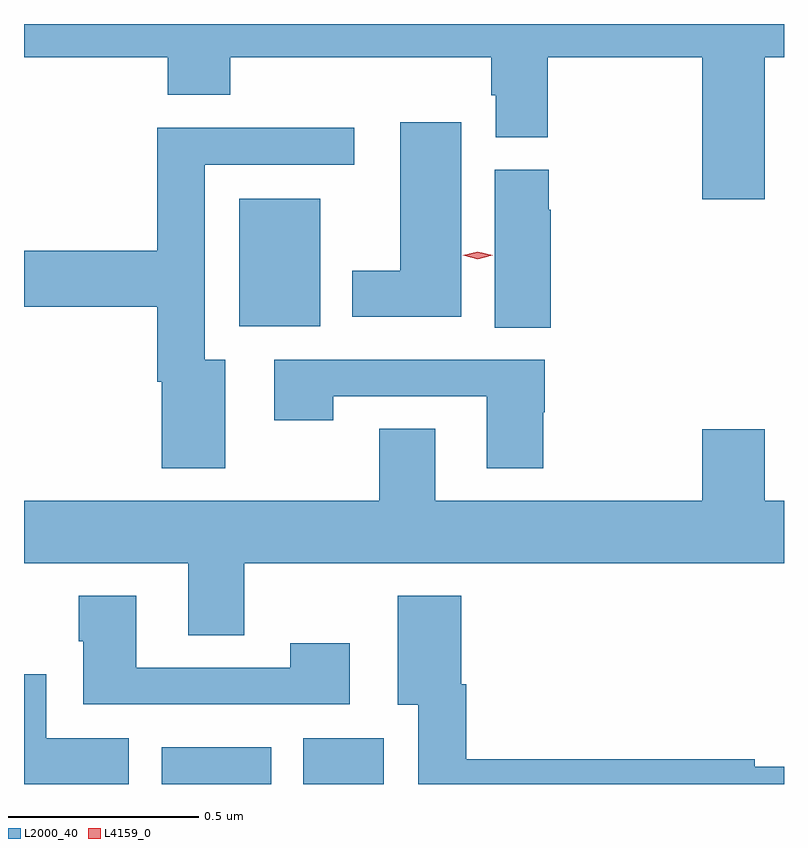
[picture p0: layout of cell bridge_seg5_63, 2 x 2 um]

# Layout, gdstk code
import gdstk
lib = gdstk.Library(unit=1e-6, precision=1e-09)
def R(c, l, rs):  # rectangles x0, y0, x1, y1
    for r in rs: c.add(gdstk.rectangle(r[:2], r[2:], *l))
def P(c, l, *ps):  # polygons
    for p in ps: c.add(gdstk.Polygon(p, *l))
L2000_40 = (2000, 40)
L4159_0 = (4159, 0)

bridge_seg5_63 = lib.new_cell('bridge_seg5_63')
R(bridge_seg5_63, L2000_40, [(151.598,896.139,151.885,896.236), (151.97,896.139,152.182,896.26), (151.802,897.344,152.014,897.679)])
P(bridge_seg5_63, L2000_40, [(151.235,898.052),(151.613,898.052),(151.613,897.953),(151.778,897.953),(151.778,898.052),(152.465,898.052),(152.465,897.951),(152.477,897.951),(152.477,897.841),(152.613,897.841),(152.613,898.052),(153.02,898.052),(153.02,897.678),(153.184,897.678),(153.184,898.052),(153.235,898.052),(153.235,898.139),(151.235,898.139)],
  [(152.386,897.88),(152.225,897.88),(152.225,897.49),(152.099,897.49),(152.099,897.368),(152.386,897.368)],
  [(151.765,897.256),(151.711,897.256),(151.711,897.768),(152.104,897.768),(152.104,897.866),(151.586,897.866),(151.586,897.542),(151.235,897.542),(151.235,897.395),(151.586,897.395),(151.586,897.197),(151.598,897.197),(151.598,896.97),(151.765,896.97)],
  [(152.621,897.65),(152.616,897.65),(152.616,897.756),(152.474,897.756),(152.474,897.34),(152.621,897.34)],
  [(152.601,897.117),(152.606,897.117),(152.606,897.255),(151.893,897.255),(151.893,897.096),(152.049,897.096),(152.049,897.159),(152.453,897.159),(152.453,896.97),(152.601,896.97)],
  [(151.815,896.72),(153.235,896.72),(153.235,896.884),(153.184,896.884),(153.184,897.073),(153.02,897.073),(153.02,896.884),(152.317,896.884),(152.317,897.074),(152.17,897.074),(152.17,896.884),(151.235,896.884),(151.235,896.72),(151.667,896.72),(151.667,896.53),(151.815,896.53)],
  [(153.235,896.184),(153.158,896.184),(153.158,896.204),(152.399,896.204),(152.399,896.402),(152.386,896.402),(152.386,896.635),(152.219,896.635),(152.219,896.348),(152.273,896.348),(152.273,896.139),(153.235,896.139)],
  [(152.092,896.509),(151.936,896.509),(151.936,896.445),(151.531,896.445),(151.531,896.635),(151.379,896.635),(151.379,896.515),(151.391,896.515),(151.391,896.349),(152.092,896.349)],
  [(151.51,896.26),(151.294,896.26),(151.294,896.428),(151.235,896.428),(151.235,896.139),(151.51,896.139)])
P(bridge_seg5_63, L4159_0, [(152.429,897.52),(152.39,897.53),(152.389,897.53),(152.39,897.53),(152.429,897.54),(152.469,897.53),(152.469,897.53),(152.469,897.53)])

lib.write_gds('bridge_seg5_63.gds')
